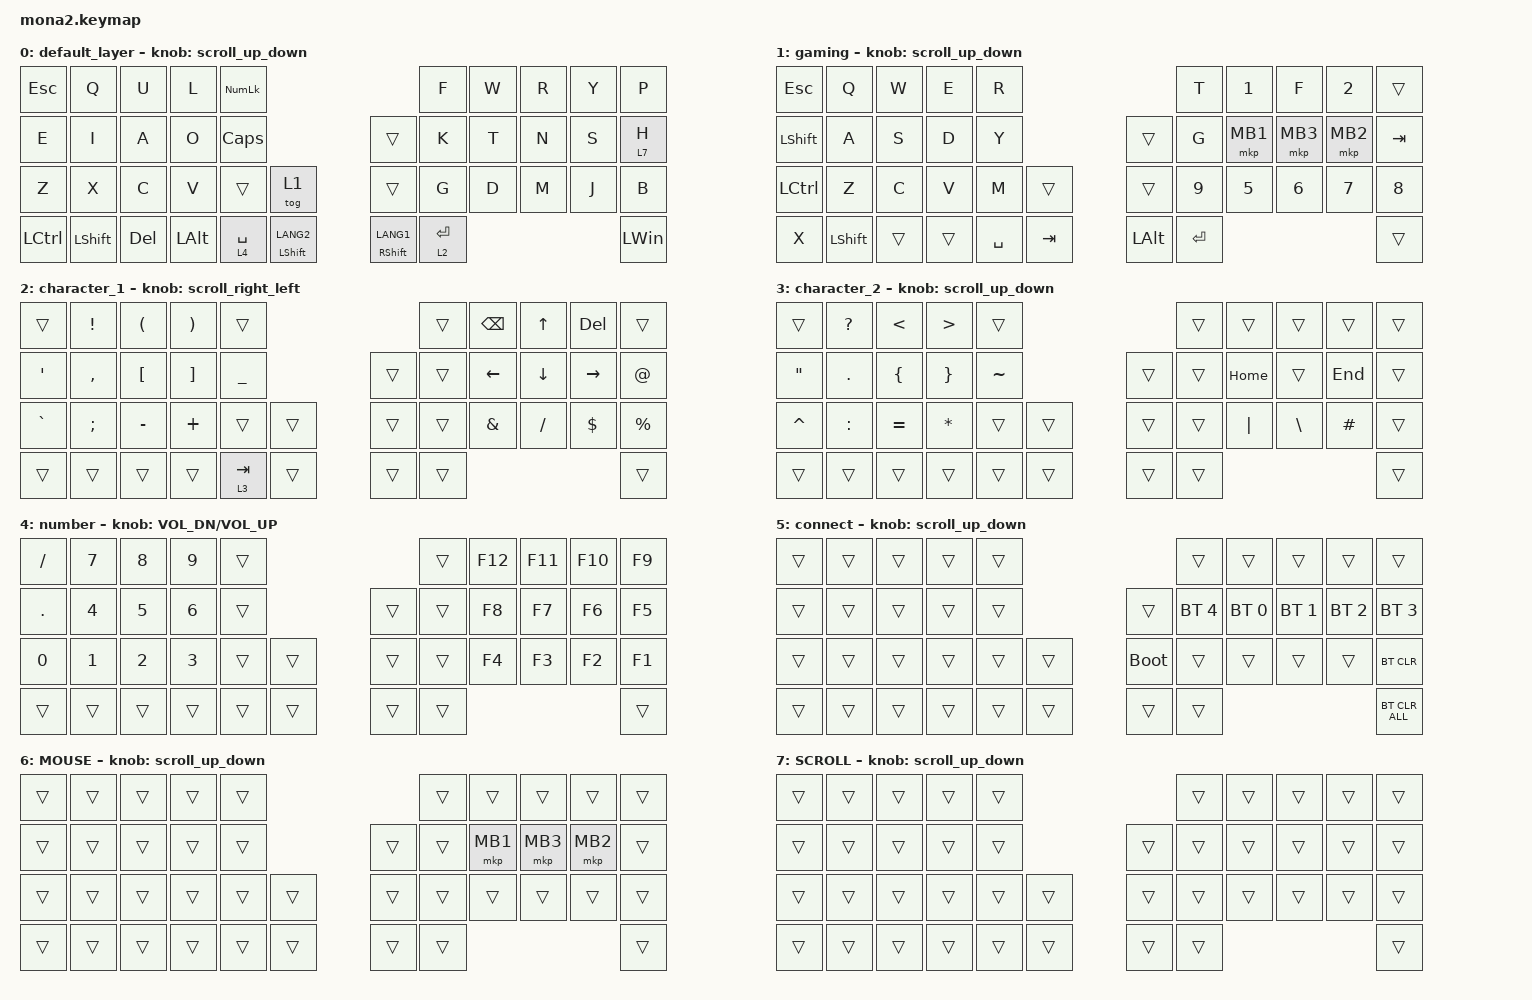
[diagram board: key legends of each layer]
#include <input/processors.dtsi>
#include <dt-bindings/zmk/input_transform.h>
#include <zephyr/dt-bindings/input/input-event-codes.h>
#include <behaviors.dtsi>
#include <dt-bindings/zmk/bt.h>
#include <dt-bindings/zmk/keys.h>
#include <dt-bindings/zmk/pointing.h>

#define ZMK_POINTING_DEFAULT_SCRL_VAL 100
#define DEFAULT 0
#define GAMING 1
#define CHARACTER_1 2
#define CHARACTER_2 3
#define NUMBER 4
#define CONNECT 5
#define MOUSE 6
#define SCROLL 7

&mt {
    flavor = "balanced";
    quick-tap-ms = <0>;
};

&lt {
    quick-tap-ms = <300>;
    flavor = "balanced";
};

&mkp_input_listener { input-processors = <&zip_temp_layer 6 800>; };

&trackball_central_listener {
    scroller {
        layers = <SCROLL>;
        input-processors =
            <&zip_xy_transform INPUT_TRANSFORM_Y_INVERT>,
            //スクロール方向を逆転,,,,,,,,,,,,,,,,
            <&zip_xy_to_scroll_mapper>;
    };
};

/ {
    combos {
        compatible = "zmk,combos";

        move_to_connect {
            bindings = <&mo 5>;
            key-positions = <39 38>;
        };
    };

    macros {
        to_layer_0: to_layer_0 {
            compatible = "zmk,behavior-macro-one-param";
            #binding-cells = <1>;
            bindings = <&to 0 &macro_param_1to1 &kp MACRO_PLACEHOLDER>;
            label = "TO_LAYER_0";
        };
    };

    behaviors {
        lt_to_layer_0: lt_to_layer_0 {
            compatible = "zmk,behavior-hold-tap";
            label = "LAYER_TAP_TO_0";
            bindings = <&mo>, <&to_layer_0>;

            #binding-cells = <2>;
            tapping-term-ms = <200>;
        };

        scroll_up_down: mouse_wheel_up_down {
            compatible = "zmk,behavior-sensor-rotate";
            #sensor-binding-cells = <0>;
            bindings = <&msc SCRL_DOWN>, <&msc SCRL_UP>;

            tap-ms = <20>;
            label = "MWUD";
        };

        scroll_right_left: mouse_wheel_right_left {
            compatible = "zmk,behavior-sensor-rotate";
            #sensor-binding-cells = <0>;
            bindings = <&msc SCRL_RIGHT>, <&msc SCRL_LEFT>;

            tap-ms = <20>;
            label = "MWRL";
        };
    };

    keymap {
        compatible = "zmk,keymap";

        default_layer {
            bindings = <
&kp ESC    &kp Q           &kp U    &kp L         &kp KP_NUMLOCK                                        &kp F        &kp W  &kp R  &kp Y  &kp P
&kp E      &kp I           &kp A    &kp O         &kp CAPS                            &trans            &kp K        &kp T  &kp N  &kp S  &lt 7 H
&kp Z      &kp X           &kp C    &kp V         &trans          &tog 1              &trans            &kp G        &kp D  &kp M  &kp J  &kp B
&kp LCTRL  &kp LEFT_SHIFT  &kp DEL  &kp LEFT_ALT  &lt 4 SPACE     &mt LSHIFT LANG2    &mt RSHIFT LANG1  &lt 2 ENTER                       &kp LEFT_WIN
            >;

            sensor-bindings = <&scroll_up_down>;
        };

        gaming {
            bindings = <
&kp ESC     &kp Q           &kp W   &kp E   &kp R                               &kp T      &kp NUMBER_1  &kp F         &kp NUMBER_2  &trans
&kp LSHIFT  &kp A           &kp S   &kp D   &kp Y                 &trans        &kp G      &mkp MB1      &mkp MB3      &mkp MB2      &kp TAB
&kp LCTRL   &kp Z           &kp C   &kp V   &kp M      &trans     &trans        &kp N9     &kp N5        &kp NUMBER_6  &kp N7        &kp N8
&kp X       &kp LEFT_SHIFT  &trans  &trans  &kp SPACE  &kp TAB    &kp LEFT_ALT  &kp ENTER                                            &trans
            >;

            sensor-bindings = <&scroll_up_down>;
        };

        character_1 {
            bindings = <
&trans            &kp EXCL   &kp LPAR          &kp RPAR           &trans                       &trans  &kp BACKSPACE   &kp UP_ARROW    &kp DEL          &trans
&kp SINGLE_QUOTE  &kp COMMA  &kp LEFT_BRACKET  &kp RIGHT_BRACKET  &kp UNDER            &trans  &trans  &kp LEFT_ARROW  &kp DOWN_ARROW  &kp RIGHT_ARROW  &kp AT
&kp GRAVE         &kp SEMI   &kp MINUS         &kp PLUS           &trans     &trans    &trans  &trans  &kp AMPS        &kp SLASH       &kp DOLLAR       &kp PERCENT
&trans            &trans     &trans            &trans             &lt 3 TAB  &trans    &trans  &trans                                                   &trans
            >;

            sensor-bindings = <&scroll_right_left>;
        };

        character_2 {
            bindings = <
&trans             &kp QUESTION  &kp LT     &kp GT           &trans                       &trans  &trans    &trans         &trans    &trans
&kp DOUBLE_QUOTES  &kp PERIOD    &kp LBRC   &kp RIGHT_BRACE  &kp TILDE            &trans  &trans  &kp HOME  &trans         &kp END   &trans
&kp CARET          &kp COLON     &kp EQUAL  &kp ASTRK        &trans     &trans    &trans  &trans  &kp PIPE  &kp BACKSLASH  &kp HASH  &trans
&trans             &trans        &trans     &trans           &trans     &trans    &trans  &trans                                     &trans
            >;

            sensor-bindings = <&scroll_up_down>;
        };

        number {
            bindings = <
&kp SLASH  &kp N7  &kp N8  &kp N9  &trans                    &trans  &kp F12  &kp F11  &kp F10  &kp F9
&kp DOT    &kp N4  &kp N5  &kp N6  &trans            &trans  &trans  &kp F8   &kp F7   &kp F6   &kp F5
&kp N0     &kp N1  &kp N2  &kp N3  &trans  &trans    &trans  &trans  &kp F4   &kp F3   &kp F2   &kp F1
&trans     &trans  &trans  &trans  &trans  &trans    &trans  &trans                             &trans
            >;

            sensor-bindings = <&inc_dec_kp C_VOL_DN C_VOL_UP>;
        };

        connect {
            bindings = <
&trans  &trans  &trans  &trans  &trans                         &trans        &trans        &trans        &trans        &trans
&trans  &trans  &trans  &trans  &trans            &trans       &bt BT_SEL 4  &bt BT_SEL 0  &bt BT_SEL 1  &bt BT_SEL 2  &bt BT_SEL 3
&trans  &trans  &trans  &trans  &trans  &trans    &bootloader  &trans        &trans        &trans        &trans        &bt BT_CLR
&trans  &trans  &trans  &trans  &trans  &trans    &trans       &trans                                                  &bt BT_CLR_ALL
            >;

            sensor-bindings = <&scroll_up_down>;
        };

        MOUSE {
            bindings = <
&trans  &trans  &trans  &trans  &trans                    &trans  &trans    &trans    &trans    &trans
&trans  &trans  &trans  &trans  &trans            &trans  &trans  &mkp MB1  &mkp MB3  &mkp MB2  &trans
&trans  &trans  &trans  &trans  &trans  &trans    &trans  &trans  &trans    &trans    &trans    &trans
&trans  &trans  &trans  &trans  &trans  &trans    &trans  &trans                                &trans
            >;

            sensor-bindings = <&scroll_up_down>;
        };

        SCROLL {
            bindings = <
&trans  &trans  &trans  &trans  &trans                    &trans  &trans  &trans  &trans  &trans
&trans  &trans  &trans  &trans  &trans            &trans  &trans  &trans  &trans  &trans  &trans
&trans  &trans  &trans  &trans  &trans  &trans    &trans  &trans  &trans  &trans  &trans  &trans
&trans  &trans  &trans  &trans  &trans  &trans    &trans  &trans                          &trans
            >;

            sensor-bindings = <&scroll_up_down>;
        };
    };
};
